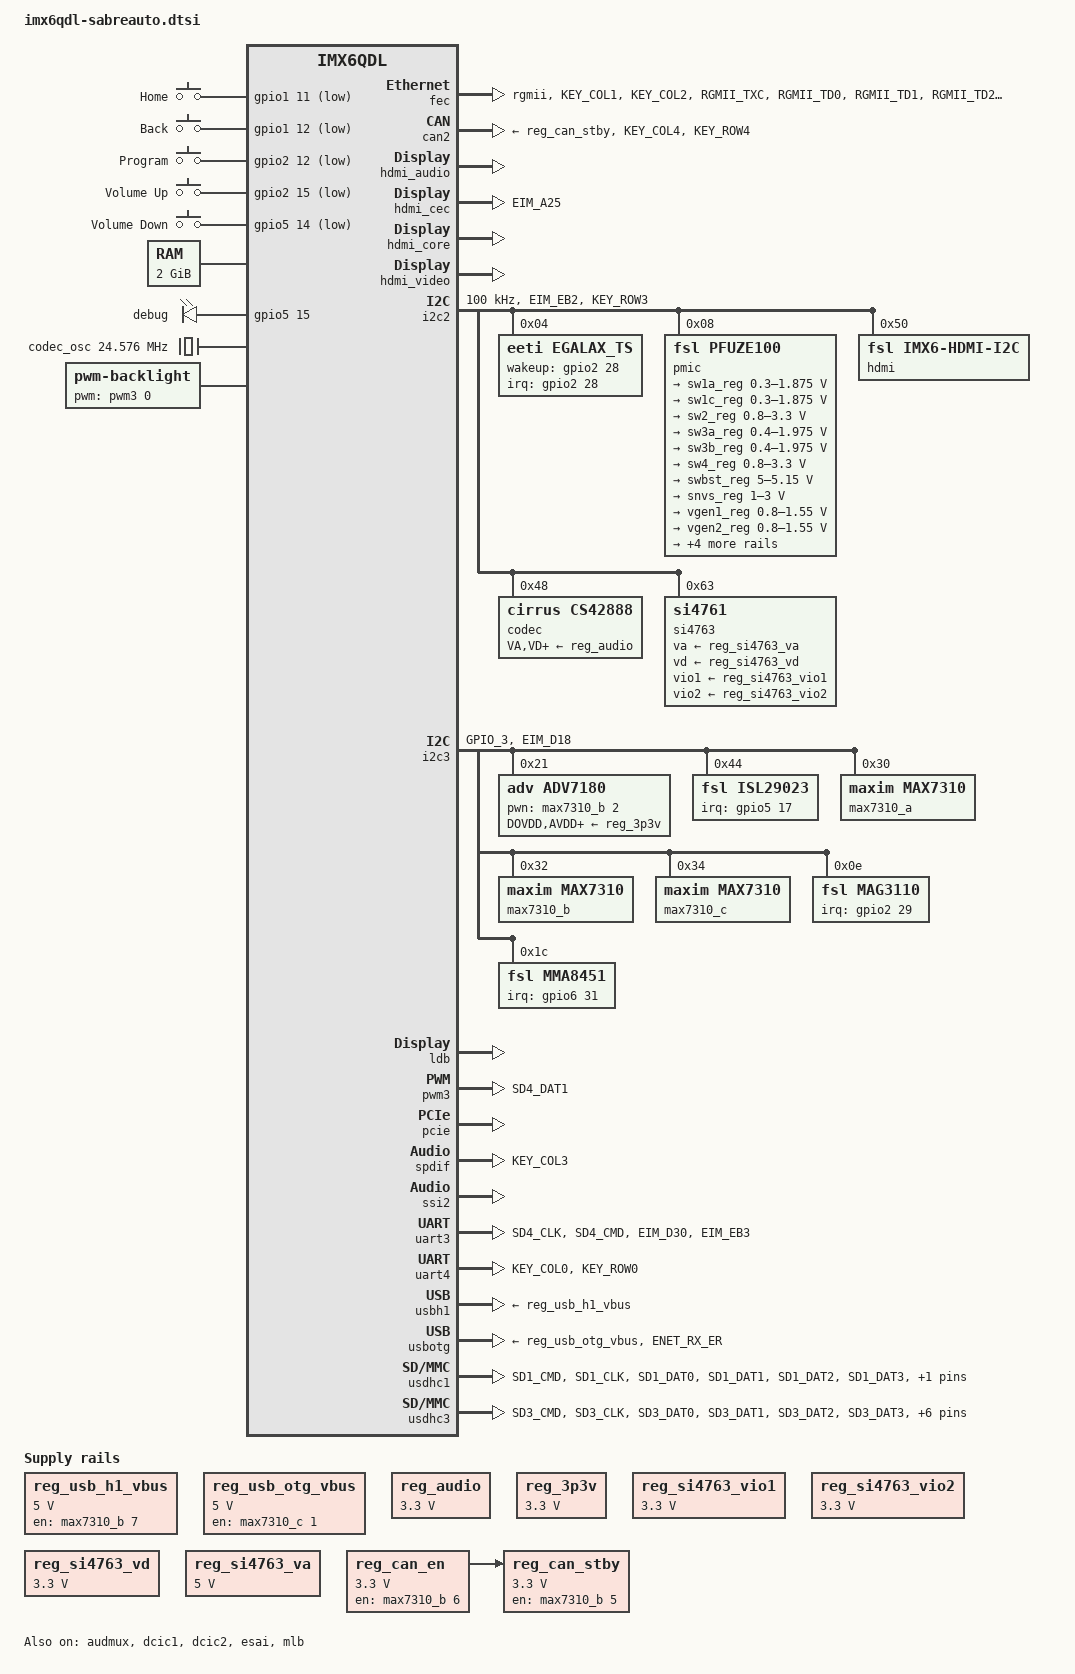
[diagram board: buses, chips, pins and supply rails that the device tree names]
/*
 * Copyright 2012-2015 Freescale Semiconductor, Inc.
 * Copyright 2011 Linaro Ltd.
 *
 * The code contained herein is licensed under the GNU General Public
 * License. You may obtain a copy of the GNU General Public License
 * Version 2 or later at the following locations:
 *
 * http://www.opensource.org/licenses/gpl-license.html
 * http://www.gnu.org/copyleft/gpl.html
 */

#include <dt-bindings/gpio/gpio.h>
#include <dt-bindings/input/input.h>

/ {
	aliases {
		mxcfb0 = &mxcfb1;
		mxcfb1 = &mxcfb2;
		mxcfb2 = &mxcfb3;
		mxcfb3 = &mxcfb4;
	};

	gpio-keys {
		compatible = "gpio-keys1";
		pinctrl-names = "default";
		pinctrl-0 = <&pinctrl_gpio_keys>;

		home {
			label = "Home";
			gpios = <&gpio1 11 GPIO_ACTIVE_LOW>;
			gpio-key,wakeup;
			linux,code = <KEY_HOME>;
		};

		back {
			label = "Back";
			gpios = <&gpio1 12 GPIO_ACTIVE_LOW>;
			gpio-key,wakeup;
			linux,code = <KEY_BACK>;
		};

		program {
			label = "Program";
			gpios = <&gpio2 12 GPIO_ACTIVE_LOW>;
			gpio-key,wakeup;
			linux,code = <KEY_PROGRAM>;
		};

		volume-up {
			label = "Volume Up";
			gpios = <&gpio2 15 GPIO_ACTIVE_LOW>;
			gpio-key,wakeup;
			linux,code = <KEY_VOLUMEUP>;
		};

		volume-down {
			label = "Volume Down";
			gpios = <&gpio5 14 GPIO_ACTIVE_LOW>;
			gpio-key,wakeup;
			linux,code = <KEY_VOLUMEDOWN>;
		};
	};

	memory:	memory {
		reg = <0x10000000 0x80000000>;
	};

	leds {
		compatible = "gpio-leds";
		pinctrl-names = "default";
		pinctrl-0 = <&pinctrl_gpio_leds>;

		user {
			label = "debug";
			gpios = <&gpio5 15 GPIO_ACTIVE_HIGH>;
		};
	};

	regulators {
		compatible = "simple-bus";
		#address-cells = <1>;
		#size-cells = <0>;

		reg_usb_h1_vbus: regulator@0 {
			compatible = "regulator-fixed";
			reg = <0>;
			regulator-name = "usb_h1_vbus";
			regulator-min-microvolt = <5000000>;
			regulator-max-microvolt = <5000000>;
			gpio = <&max7310_b 7 GPIO_ACTIVE_HIGH>;
			enable-active-high;
		};

		reg_usb_otg_vbus: regulator@1 {
			compatible = "regulator-fixed";
			reg = <1>;
			regulator-name = "usb_otg_vbus";
			regulator-min-microvolt = <5000000>;
			regulator-max-microvolt = <5000000>;
			gpio = <&max7310_c 1 GPIO_ACTIVE_HIGH>;
			enable-active-high;
		};

		reg_audio: regulator@2 {
			compatible = "regulator-fixed";
			reg = <2>;
			regulator-name = "cs42888_supply";
			regulator-min-microvolt = <3300000>;
			regulator-max-microvolt = <3300000>;
			regulator-always-on;
		};

		reg_3p3v: 3p3v {
			compatible = "regulator-fixed";
			regulator-name = "3P3V";
			regulator-min-microvolt = <3300000>;
			regulator-max-microvolt = <3300000>;
			regulator-always-on;
		};

		reg_si4763_vio1: regulator@3 {
			compatible = "regulator-fixed";
			reg = <3>;
			regulator-name = "vio1";
			regulator-min-microvolt = <3300000>;
			regulator-max-microvolt = <3300000>;
			regulator-always-on;
		};

		reg_si4763_vio2: regulator@4 {
			compatible = "regulator-fixed";
			reg = <4>;
			regulator-name = "vio2";
			regulator-min-microvolt = <3300000>;
			regulator-max-microvolt = <3300000>;
			regulator-always-on;
		};

		reg_si4763_vd: regulator@5 {
			compatible = "regulator-fixed";
			reg = <5>;
			regulator-name = "vd";
			regulator-min-microvolt = <3300000>;
			regulator-max-microvolt = <3300000>;
			regulator-always-on;
		};

		reg_si4763_va: regulator@6 {
			compatible = "regulator-fixed";
			reg = <6>;
			regulator-name = "va";
			regulator-min-microvolt = <5000000>;
			regulator-max-microvolt = <5000000>;
			regulator-always-on;
		};

		reg_sd3_vmmc: regulator@7 {
			compatible = "regulator-fixed";
			regulator-name = "P3V3_SDa_SWITCHED";
			regulator-min-microvolt = <3300000>;
			regulator-max-microvolt = <3300000>;
			gpio = <&gpio7 8 GPIO_ACTIVE_HIGH>;
			enable-active-high;
			/* remove below line to enable this regulator */
			status = "disabled";
		};

		reg_can_en: regulator@8 {
			compatible = "regulator-fixed";
			reg = <8>;
			regulator-name = "can-en";
			regulator-min-microvolt = <3300000>;
			regulator-max-microvolt = <3300000>;
			gpio = <&max7310_b 6 GPIO_ACTIVE_HIGH>;
			enable-active-high;
		};

		reg_can_stby: regulator@9 {
			compatible = "regulator-fixed";
			reg = <9>;
			regulator-name = "can-stby";
			regulator-min-microvolt = <3300000>;
			regulator-max-microvolt = <3300000>;
			gpio = <&max7310_b 5 GPIO_ACTIVE_HIGH>;
			enable-active-high;
			vin-supply = <&reg_can_en>;
		};
	};

	hannstar_cabc {
		compatible = "hannstar,cabc";

		lvds_share {
			gpios = <&max7310_a 0 GPIO_ACTIVE_HIGH>;
		};
	};

	sound-hdmi {
		compatible = "fsl,imx6q-audio-hdmi",
			     "fsl,imx-audio-hdmi";
		model = "imx-audio-hdmi";
		hdmi-controller = <&hdmi_audio>;
	};

	mxcfb1: fb@0 {
		compatible = "fsl,mxc_sdc_fb";
		disp_dev = "ldb";
		interface_pix_fmt = "RGB666";
		default_bpp = <16>;
		int_clk = <0>;
		late_init = <0>;
		status = "disabled";
	};

	mxcfb2: fb@1 {
		compatible = "fsl,mxc_sdc_fb";
		disp_dev = "hdmi";
		interface_pix_fmt = "RGB24";
		mode_str ="1920x1080M@60";
		default_bpp = <24>;
		int_clk = <0>;
		late_init = <0>;
		status = "disabled";
	};

	mxcfb3: fb@2 {
		compatible = "fsl,mxc_sdc_fb";
		disp_dev = "lcd";
		interface_pix_fmt = "RGB565";
		mode_str ="CLAA-WVGA";
		default_bpp = <16>;
		int_clk = <0>;
		late_init = <0>;
		status = "disabled";
	};

	mxcfb4: fb@3 {
		compatible = "fsl,mxc_sdc_fb";
		disp_dev = "ldb";
		interface_pix_fmt = "RGB666";
		default_bpp = <16>;
		int_clk = <0>;
		late_init = <0>;
		status = "disabled";
	};

	clocks {
		codec_osc: anaclk2 {
			compatible = "fixed-clock";
			#clock-cells = <0>;
			clock-frequency = <24576000>;
		};
	};

	sound-cs42888 {
		compatible = "fsl,imx6-sabreauto-cs42888",
				"fsl,imx-audio-cs42888";
		model = "imx-cs42888";
		esai-controller = <&esai>;
		asrc-controller = <&asrc>;
		audio-codec = <&codec>;
	};

	sound-fm {
		compatible = "fsl,imx-audio-si476x",
			   "fsl,imx-tuner-si476x";
		model = "imx-radio-si4763";
		ssi-controller = <&ssi2>;
		fm-controller = <&si476x_codec>;
		mux-int-port = <2>;
		mux-ext-port = <5>;
	};

	sound-spdif {
		compatible = "fsl,imx-audio-spdif",
			   "fsl,imx-sabreauto-spdif";
		model = "imx-spdif";
		spdif-controller = <&spdif>;
		spdif-in;
	};

	backlight {
		compatible = "pwm-backlight";
		pwms = <&pwm3 0 5000000>;
		brightness-levels = <0 4 8 16 32 64 128 255>;
		default-brightness-level = <7>;
		status = "okay";
	};

	v4l2_cap_0 {
		compatible = "fsl,imx6q-v4l2-capture";
		ipu_id = <0>;
		csi_id = <0>;
		mclk_source = <0>;
		status = "okay";
	};

	v4l2_out {
		compatible = "fsl,mxc_v4l2_output";
		status = "okay";
	};
};

&audmux {
	pinctrl-names = "default";
	pinctrl-0 = <&pinctrl_audmux>;
	status = "okay";
};

&clks {
	assigned-clocks = <&clks IMX6QDL_PLL4_BYPASS_SRC>,
			  <&clks IMX6QDL_PLL4_BYPASS>,
			  <&clks IMX6QDL_CLK_PLL4_POST_DIV>;
	assigned-clock-parents = <&clks IMX6QDL_CLK_LVDS2_IN>,
				<&clks IMX6QDL_PLL4_BYPASS_SRC>;
	assigned-clock-rates = <0>, <0>, <24576000>;
	fsl,ldb-di0-parent = <&clks IMX6QDL_CLK_PLL2_PFD0_352M>;
	fsl,ldb-di1-parent = <&clks IMX6QDL_CLK_PLL2_PFD0_352M>;
};

&dcic1 {
	dcic_id = <0>;
	dcic_mux = "dcic-hdmi";
	status = "okay";
};

&dcic2 {
	dcic_id = <1>;
	dcic_mux = "dcic-lvds0";
	status = "okay";
};

&ecspi1 {
	fsl,spi-num-chipselects = <1>;
	cs-gpios = <&gpio3 19 0>;
	pinctrl-names = "default";
	pinctrl-0 = <&pinctrl_ecspi1 &pinctrl_ecspi1_cs>;
	status = "disabled"; /* pin conflict with WEIM NOR */

	flash: m25p80@0 {
		#address-cells = <1>;
		#size-cells = <1>;
		compatible = "st,m25p32";
		spi-max-frequency = <20000000>;
		reg = <0>;
	};
};

&esai {
	pinctrl-names = "default";
	pinctrl-0 = <&pinctrl_esai>;
	assigned-clocks = <&clks IMX6QDL_CLK_ESAI_SEL>,
			  <&clks IMX6QDL_CLK_ESAI_EXTAL>;
	assigned-clock-parents = <&clks IMX6QDL_CLK_PLL4_AUDIO_DIV>;
	assigned-clock-rates = <0>, <24576000>;
	status = "okay";
};

&fec {
	pinctrl-names = "default";
	pinctrl-0 = <&pinctrl_enet>;
	phy-mode = "rgmii";
	fsl,magic-packet;
	status = "okay";
};

&can1 {
	pinctrl-names = "default";
	pinctrl-0 = <&pinctrl_flexcan1>;
	pinctrl-assert-gpios = <&max7310_b 3 GPIO_ACTIVE_HIGH>; /* TX */
	xceiver-supply = <&reg_can_stby>;
	status = "disabled"; /* pin conflict with fec */
};

&can2 {
	pinctrl-names = "default";
	pinctrl-0 = <&pinctrl_flexcan2>;
	xceiver-supply = <&reg_can_stby>;
	status = "okay";
};

&gpmi {
	pinctrl-names = "default";
	pinctrl-0 = <&pinctrl_gpmi_nand>;
	status = "disabled"; /* pin conflict with uart3 */
	nand-on-flash-bbt;
};

&hdmi_audio {
	status = "okay";
};

&hdmi_cec {
	pinctrl-names = "default";
	pinctrl-0 = <&pinctrl_hdmi_cec>;
	status = "okay";
};

&hdmi_core {
	ipu_id = <0>;
	disp_id = <1>;
	status = "okay";
};

&hdmi_video {
	fsl,phy_reg_vlev = <0x0294>;
	fsl,phy_reg_cksymtx = <0x800d>;
	status = "okay";
};

&i2c2 {
	clock-frequency = <100000>;
	pinctrl-names = "default";
	pinctrl-0 = <&pinctrl_i2c2>;
	status = "okay";

	egalax_ts@04 {
		compatible = "eeti,egalax_ts";
		reg = <0x04>;
		pinctrl-names = "default";
		pinctrl-0 = <&pinctrl_egalax_int>;
		interrupt-parent = <&gpio2>;
		interrupts = <28 2>;
		wakeup-gpios = <&gpio2 28 GPIO_ACTIVE_HIGH>;
	};

	pmic: pfuze100@08 {
		compatible = "fsl,pfuze100";
		reg = <0x08>;

		regulators {
			sw1a_reg: sw1ab {
				regulator-min-microvolt = <300000>;
				regulator-max-microvolt = <1875000>;
				regulator-boot-on;
				regulator-always-on;
				regulator-ramp-delay = <6250>;
			};

			sw1c_reg: sw1c {
				regulator-min-microvolt = <300000>;
				regulator-max-microvolt = <1875000>;
				regulator-boot-on;
				regulator-always-on;
				regulator-ramp-delay = <6250>;
			};

			sw2_reg: sw2 {
				regulator-min-microvolt = <800000>;
				regulator-max-microvolt = <3300000>;
				regulator-boot-on;
				regulator-always-on;
			};

			sw3a_reg: sw3a {
				regulator-min-microvolt = <400000>;
				regulator-max-microvolt = <1975000>;
				regulator-boot-on;
				regulator-always-on;
			};

			sw3b_reg: sw3b {
				regulator-min-microvolt = <400000>;
				regulator-max-microvolt = <1975000>;
				regulator-boot-on;
				regulator-always-on;
			};

			sw4_reg: sw4 {
				regulator-min-microvolt = <800000>;
				regulator-max-microvolt = <3300000>;
			};

			swbst_reg: swbst {
				regulator-min-microvolt = <5000000>;
				regulator-max-microvolt = <5150000>;
			};

			snvs_reg: vsnvs {
				regulator-min-microvolt = <1000000>;
				regulator-max-microvolt = <3000000>;
				regulator-boot-on;
				regulator-always-on;
			};

			vref_reg: vrefddr {
				regulator-boot-on;
				regulator-always-on;
			};

			vgen1_reg: vgen1 {
				regulator-min-microvolt = <800000>;
				regulator-max-microvolt = <1550000>;
			};

			vgen2_reg: vgen2 {
				regulator-min-microvolt = <800000>;
				regulator-max-microvolt = <1550000>;
			};

			vgen3_reg: vgen3 {
				regulator-min-microvolt = <1800000>;
				regulator-max-microvolt = <3300000>;
			};

			vgen4_reg: vgen4 {
				regulator-min-microvolt = <1800000>;
				regulator-max-microvolt = <3300000>;
				regulator-always-on;
			};

			vgen5_reg: vgen5 {
				regulator-min-microvolt = <1800000>;
				regulator-max-microvolt = <3300000>;
				regulator-always-on;
			};

			vgen6_reg: vgen6 {
				regulator-min-microvolt = <1800000>;
				regulator-max-microvolt = <3300000>;
				regulator-always-on;
			};
		};
	};

	hdmi: edid@50 {
		compatible = "fsl,imx6-hdmi-i2c";
		reg = <0x50>;
	};

	codec: cs42888@48 {
		compatible = "cirrus,cs42888";
		reg = <0x48>;
		clocks = <&codec_osc>;
		clock-names = "mclk";
		VA-supply = <&reg_audio>;
		VD-supply = <&reg_audio>;
		VLS-supply = <&reg_audio>;
		VLC-supply = <&reg_audio>;
        };

	si4763: si4763@63 {
		compatible = "si4761";
		reg = <0x63>;
		va-supply = <&reg_si4763_va>;
		vd-supply = <&reg_si4763_vd>;
		vio1-supply = <&reg_si4763_vio1>;
		vio2-supply = <&reg_si4763_vio2>;
		revision-a10; /* set to default A10 compatible command set */

		si476x_codec: si476x-codec {
			compatible = "si476x-codec";
		};
	};
};

&i2c3 {
	pinctrl-names = "default";
	pinctrl-0 = <&pinctrl_i2c3>;
	status = "okay";

	adv7180: adv7180@21 {
		compatible = "adv,adv7180";
		reg = <0x21>;
		pinctrl-names = "default";
		pinctrl-0 = <&pinctrl_ipu1_1>;
		clocks = <&clks IMX6QDL_CLK_CKO>;
		clock-names = "csi_mclk";
		DOVDD-supply = <&reg_3p3v>; /* 3.3v, enabled via 2.8 VGEN6 */
		AVDD-supply = <&reg_3p3v>;  /* 1.8v */
		DVDD-supply = <&reg_3p3v>;  /* 1.8v */
		PVDD-supply = <&reg_3p3v>;  /* 1.8v */
		pwn-gpios = <&max7310_b 2 0>;
		csi_id = <0>;
		mclk = <24000000>;
		mclk_source = <0>;
		cvbs = <1>;
	};

	isl29023@44 {
		compatible = "fsl,isl29023";
		reg = <0x44>;
		rext = <499>;
		interrupt-parent = <&gpio5>;
		interrupts = <17 2>;
	};

	max7310_a: gpio@30 {
		compatible = "maxim,max7310";
		reg = <0x30>;
		gpio-controller;
		#gpio-cells = <2>;
	};

	max7310_b: gpio@32 {
		compatible = "maxim,max7310";
		reg = <0x32>;
		gpio-controller;
		#gpio-cells = <2>;
	};

	max7310_c: gpio@34 {
		compatible = "maxim,max7310";
		reg = <0x34>;
		gpio-controller;
		#gpio-cells = <2>;
	};

	mag3110@0e {
		compatible = "fsl,mag3110";
		reg = <0x0e>;
		position = <2>;
		interrupt-parent = <&gpio2>;
		interrupts = <29 1>;
	};

	mma8451@1c {
		compatible = "fsl,mma8451";
		reg = <0x1c>;
		position = <7>;
		interrupt-parent = <&gpio6>;
		interrupts = <31 8>;
		interrupt-route = <1>;
	};
};

&iomuxc {
	pinctrl-names = "default";
	pinctrl-0 = <&pinctrl_hog>;

	imx6qdl-sabreauto {
                pinctrl_audmux: audmux {
                        fsl,pins = <
                                MX6QDL_PAD_DISP0_DAT16__AUD5_TXC  0x130b0
                                MX6QDL_PAD_DISP0_DAT18__AUD5_TXFS 0x130b0
                                MX6QDL_PAD_DISP0_DAT19__AUD5_RXD  0x130b0
                        >;
                };

		pinctrl_hog: hoggrp {
			fsl,pins = <
				MX6QDL_PAD_NANDF_CS2__GPIO6_IO15 0x1f059
				MX6QDL_PAD_SD2_DAT2__GPIO1_IO13  0x80000000
				MX6QDL_PAD_GPIO_18__SD3_VSELECT 0x17059
				MX6QDL_PAD_EIM_A24__GPIO5_IO04   0x80000000
				MX6QDL_PAD_SD2_DAT0__GPIO1_IO15  0x80000000
				MX6QDL_PAD_EIM_BCLK__GPIO6_IO31 0x80000000
				MX6QDL_PAD_EIM_EB1__GPIO2_IO29	0x80000000
				MX6QDL_PAD_DISP0_DAT23__GPIO5_IO17 0x80000000
				MX6QDL_PAD_SD3_RST__GPIO7_IO08 0x80000000
				MX6QDL_PAD_CSI0_DATA_EN__GPIO5_IO20 0x17059
				MX6QDL_PAD_GPIO_1__GPIO1_IO01 0x17059
			>;
		};

		pinctrl_ecspi1: ecspi1grp {
			fsl,pins = <
				MX6QDL_PAD_EIM_D17__ECSPI1_MISO		0x100b1
				MX6QDL_PAD_EIM_D18__ECSPI1_MOSI		0x100b1
				MX6QDL_PAD_EIM_D16__ECSPI1_SCLK		0x100b1
			>;
		};

		pinctrl_ecspi1_cs: ecspi1cs {
			fsl,pins = <
				MX6QDL_PAD_EIM_D19__GPIO3_IO19 0x80000000
			>;
		};

		pinctrl_egalax_int: egalax_intgrp {
			fsl,pins = <
				MX6QDL_PAD_EIM_EB0__GPIO2_IO28 0x80000000
			>;
		};

		pinctrl_enet: enetgrp {
			fsl,pins = <
				MX6QDL_PAD_KEY_COL1__ENET_MDIO		0x1b0b0
				MX6QDL_PAD_KEY_COL2__ENET_MDC		0x1b0b0
				MX6QDL_PAD_RGMII_TXC__RGMII_TXC		0x1b0b0
				MX6QDL_PAD_RGMII_TD0__RGMII_TD0		0x1b0b0
				MX6QDL_PAD_RGMII_TD1__RGMII_TD1		0x1b0b0
				MX6QDL_PAD_RGMII_TD2__RGMII_TD2		0x1b0b0
				MX6QDL_PAD_RGMII_TD3__RGMII_TD3		0x1b0b0
				MX6QDL_PAD_RGMII_TX_CTL__RGMII_TX_CTL	0x1b0b0
				MX6QDL_PAD_ENET_REF_CLK__ENET_TX_CLK	0x1b0b0
				MX6QDL_PAD_RGMII_RXC__RGMII_RXC		0x1b0b0
				MX6QDL_PAD_RGMII_RD0__RGMII_RD0		0x1b0b0
				MX6QDL_PAD_RGMII_RD1__RGMII_RD1		0x1b0b0
				MX6QDL_PAD_RGMII_RD2__RGMII_RD2		0x1b0b0
				MX6QDL_PAD_RGMII_RD3__RGMII_RD3		0x1b0b0
				MX6QDL_PAD_RGMII_RX_CTL__RGMII_RX_CTL	0x1b0b0
				MX6QDL_PAD_GPIO_16__ENET_REF_CLK	0x4001b0a8
			>;
		};

		pinctrl_enet_irq: enetirqgrp {
			fsl,pins = <
				MX6QDL_PAD_GPIO_6__ENET_IRQ		0x000b1
			>;
		};

		pinctrl_esai: esaigrp {
			fsl,pins = <
				MX6QDL_PAD_ENET_CRS_DV__ESAI_TX_CLK 0x1b030
				MX6QDL_PAD_ENET_RXD1__ESAI_TX_FS    0x1b030
				MX6QDL_PAD_ENET_TX_EN__ESAI_TX3_RX2 0x1b030
				MX6QDL_PAD_GPIO_5__ESAI_TX2_RX3     0x1b030
				MX6QDL_PAD_ENET_TXD0__ESAI_TX4_RX1  0x1b030
				MX6QDL_PAD_ENET_MDC__ESAI_TX5_RX0   0x1b030
				MX6QDL_PAD_GPIO_17__ESAI_TX0        0x1b030
				MX6QDL_PAD_NANDF_CS3__ESAI_TX1      0x1b030
				MX6QDL_PAD_ENET_MDIO__ESAI_RX_CLK   0x1b030
				MX6QDL_PAD_GPIO_9__ESAI_RX_FS       0x1b030
			>;
		};

		pinctrl_flexcan1: flexcan1grp {
			fsl,pins = <
				MX6QDL_PAD_KEY_ROW2__FLEXCAN1_RX        0x17059
				MX6QDL_PAD_KEY_COL2__FLEXCAN1_TX	0x17059
			>;
		};

		pinctrl_flexcan2: flexcan2grp {
			fsl,pins = <
				MX6QDL_PAD_KEY_COL4__FLEXCAN2_TX	0x17059
				MX6QDL_PAD_KEY_ROW4__FLEXCAN2_RX	0x17059
			>;
		};

		pinctrl_gpio_keys: gpio_keysgrp {
			fsl,pins = <
				MX6QDL_PAD_SD2_CMD__GPIO1_IO11	0x1b0b0
				MX6QDL_PAD_SD2_DAT3__GPIO1_IO12 0x1b0b0
				MX6QDL_PAD_SD4_DAT4__GPIO2_IO12 0x1b0b0
				MX6QDL_PAD_SD4_DAT7__GPIO2_IO15	0x1b0b0
				MX6QDL_PAD_DISP0_DAT20__GPIO5_IO14 0x1b0b0
			>;
		};

		pinctrl_gpio_leds: gpioledsgrp {
			fsl,pins = <
				MX6QDL_PAD_DISP0_DAT21__GPIO5_IO15	0x80000000
			>;
		};

		pinctrl_gpmi_nand: gpminandgrp {
			fsl,pins = <
				MX6QDL_PAD_NANDF_CLE__NAND_CLE		0xb0b1
				MX6QDL_PAD_NANDF_ALE__NAND_ALE		0xb0b1
				MX6QDL_PAD_NANDF_WP_B__NAND_WP_B	0xb0b1
				MX6QDL_PAD_NANDF_RB0__NAND_READY_B	0xb000
				MX6QDL_PAD_NANDF_CS0__NAND_CE0_B	0xb0b1
				MX6QDL_PAD_NANDF_CS1__NAND_CE1_B	0xb0b1
				MX6QDL_PAD_SD4_CMD__NAND_RE_B		0xb0b1
				MX6QDL_PAD_SD4_CLK__NAND_WE_B		0xb0b1
				MX6QDL_PAD_NANDF_D0__NAND_DATA00	0xb0b1
				MX6QDL_PAD_NANDF_D1__NAND_DATA01	0xb0b1
				MX6QDL_PAD_NANDF_D2__NAND_DATA02	0xb0b1
				MX6QDL_PAD_NANDF_D3__NAND_DATA03	0xb0b1
				MX6QDL_PAD_NANDF_D4__NAND_DATA04	0xb0b1
				MX6QDL_PAD_NANDF_D5__NAND_DATA05	0xb0b1
				MX6QDL_PAD_NANDF_D6__NAND_DATA06	0xb0b1
				MX6QDL_PAD_NANDF_D7__NAND_DATA07	0xb0b1
				MX6QDL_PAD_SD4_DAT0__NAND_DQS		0x00b1
			>;
		};

		pinctrl_i2c2: i2c2grp {
			fsl,pins = <
				MX6QDL_PAD_EIM_EB2__I2C2_SCL	0x4001b8b1
				MX6QDL_PAD_KEY_ROW3__I2C2_SDA	0x4001b8b1
			>;
		};

		pinctrl_ipu1_1: ipu1grp-1 { /* parallel port 16-bit */
			fsl,pins = <
				MX6QDL_PAD_CSI0_DAT4__IPU1_CSI0_DATA04   0x80000000
				MX6QDL_PAD_CSI0_DAT5__IPU1_CSI0_DATA05   0x80000000
				MX6QDL_PAD_CSI0_DAT6__IPU1_CSI0_DATA06   0x80000000
				MX6QDL_PAD_CSI0_DAT7__IPU1_CSI0_DATA07   0x80000000
				MX6QDL_PAD_CSI0_DAT8__IPU1_CSI0_DATA08   0x80000000
				MX6QDL_PAD_CSI0_DAT9__IPU1_CSI0_DATA09   0x80000000
				MX6QDL_PAD_CSI0_DAT10__IPU1_CSI0_DATA10  0x80000000
				MX6QDL_PAD_CSI0_DAT11__IPU1_CSI0_DATA11  0x80000000
				MX6QDL_PAD_CSI0_DAT12__IPU1_CSI0_DATA12  0x80000000
				MX6QDL_PAD_CSI0_DAT13__IPU1_CSI0_DATA13  0x80000000
				MX6QDL_PAD_CSI0_DAT14__IPU1_CSI0_DATA14  0x80000000
				MX6QDL_PAD_CSI0_DAT15__IPU1_CSI0_DATA15  0x80000000
				MX6QDL_PAD_CSI0_DAT16__IPU1_CSI0_DATA16  0x80000000
				MX6QDL_PAD_CSI0_DAT17__IPU1_CSI0_DATA17  0x80000000
				MX6QDL_PAD_CSI0_DAT18__IPU1_CSI0_DATA18  0x80000000
				MX6QDL_PAD_CSI0_DAT19__IPU1_CSI0_DATA19  0x80000000
				MX6QDL_PAD_CSI0_PIXCLK__IPU1_CSI0_PIXCLK 0x80000000
				MX6QDL_PAD_CSI0_MCLK__IPU1_CSI0_HSYNC    0x80000000
				MX6QDL_PAD_CSI0_VSYNC__IPU1_CSI0_VSYNC   0x80000000
			>;
		};

		pinctrl_i2c3: i2c3grp {
			fsl,pins = <
				MX6QDL_PAD_GPIO_3__I2C3_SCL  0x4001b8b1
				MX6QDL_PAD_EIM_D18__I2C3_SDA 0x4001b8b1
			>;
		};

		pinctrl_mlb: mlb {
			fsl,pins = <
				MX6QDL_PAD_ENET_TXD1__MLB_CLK 0x80000000
				MX6QDL_PAD_GPIO_6__MLB_SIG    0x80000000
				MX6QDL_PAD_GPIO_2__MLB_DATA   0x80000000
			>;
		};

		pinctrl_pwm3: pwm1grp {
			fsl,pins = <
				MX6QDL_PAD_SD4_DAT1__PWM3_OUT		0x1b0b1
			>;
		};

		pinctrl_spdif: spdifgrp {
			fsl,pins = <
				MX6QDL_PAD_KEY_COL3__SPDIF_IN 0x1b0b0
			>;
		};

		pinctrl_uart3_1: uart3grp-1 {
			fsl,pins = <
				MX6QDL_PAD_SD4_CLK__UART3_RX_DATA	0x1b0b1
				MX6QDL_PAD_SD4_CMD__UART3_TX_DATA	0x1b0b1
				MX6QDL_PAD_EIM_D30__UART3_CTS_B		0x1b0b1
				MX6QDL_PAD_EIM_EB3__UART3_RTS_B		0x1b0b1
			>;
		};

		pinctrl_uart3dte_1: uart3dtegrp-1 {
			fsl,pins = <
				MX6QDL_PAD_SD4_CLK__UART3_TX_DATA	0x1b0b1
				MX6QDL_PAD_SD4_CMD__UART3_RX_DATA	0x1b0b1
				MX6QDL_PAD_EIM_D30__UART3_RTS_B		0x1b0b1
				MX6QDL_PAD_EIM_EB3__UART3_CTS_B		0x1b0b1
			>;
		};

		pinctrl_uart4: uart4grp {
			fsl,pins = <
				MX6QDL_PAD_KEY_COL0__UART4_TX_DATA	0x1b0b1
				MX6QDL_PAD_KEY_ROW0__UART4_RX_DATA	0x1b0b1
			>;
		};

		pinctrl_usbotg: usbotggrp {
			fsl,pins = <
				MX6QDL_PAD_ENET_RX_ER__USB_OTG_ID 0x17059
			>;
		};

		pinctrl_usdhc1: usdhc1grp {
			fsl,pins = <
				MX6QDL_PAD_SD1_CMD__SD1_CMD             0x17071
				MX6QDL_PAD_SD1_CLK__SD1_CLK             0x10071
				MX6QDL_PAD_SD1_DAT0__SD1_DATA0          0x17071
				MX6QDL_PAD_SD1_DAT1__SD1_DATA1          0x17071
				MX6QDL_PAD_SD1_DAT2__SD1_DATA2          0x17071
				MX6QDL_PAD_SD1_DAT3__SD1_DATA3          0x17071
			>;
		};

		pinctrl_usdhc3: usdhc3grp {
			fsl,pins = <
				MX6QDL_PAD_SD3_CMD__SD3_CMD		0x17059
				MX6QDL_PAD_SD3_CLK__SD3_CLK		0x10059
				MX6QDL_PAD_SD3_DAT0__SD3_DATA0		0x17059
				MX6QDL_PAD_SD3_DAT1__SD3_DATA1		0x17059
				MX6QDL_PAD_SD3_DAT2__SD3_DATA2		0x17059
				MX6QDL_PAD_SD3_DAT3__SD3_DATA3		0x17059
				MX6QDL_PAD_SD3_DAT4__SD3_DATA4		0x17059
				MX6QDL_PAD_SD3_DAT5__SD3_DATA5		0x17059
				MX6QDL_PAD_SD3_DAT6__SD3_DATA6		0x17059
				MX6QDL_PAD_SD3_DAT7__SD3_DATA7		0x17059
			>;
		};

		pinctrl_usdhc3_100mhz: usdhc3grp100mhz {
			fsl,pins = <
				MX6QDL_PAD_SD3_CMD__SD3_CMD		0x170b9
				MX6QDL_PAD_SD3_CLK__SD3_CLK		0x100b9
				MX6QDL_PAD_SD3_DAT0__SD3_DATA0		0x170b9
				MX6QDL_PAD_SD3_DAT1__SD3_DATA1		0x170b9
				MX6QDL_PAD_SD3_DAT2__SD3_DATA2		0x170b9
				MX6QDL_PAD_SD3_DAT3__SD3_DATA3		0x170b9
				MX6QDL_PAD_SD3_DAT4__SD3_DATA4		0x170b9
				MX6QDL_PAD_SD3_DAT5__SD3_DATA5		0x170b9
				MX6QDL_PAD_SD3_DAT6__SD3_DATA6		0x170b9
				MX6QDL_PAD_SD3_DAT7__SD3_DATA7		0x170b9
			>;
		};

		pinctrl_usdhc3_200mhz: usdhc3grp200mhz {
			fsl,pins = <
				MX6QDL_PAD_SD3_CMD__SD3_CMD		0x170f9
				MX6QDL_PAD_SD3_CLK__SD3_CLK		0x100f9
				MX6QDL_PAD_SD3_DAT0__SD3_DATA0		0x170f9
				MX6QDL_PAD_SD3_DAT1__SD3_DATA1		0x170f9
				MX6QDL_PAD_SD3_DAT2__SD3_DATA2		0x170f9
				MX6QDL_PAD_SD3_DAT3__SD3_DATA3		0x170f9
				MX6QDL_PAD_SD3_DAT4__SD3_DATA4		0x170f9
				MX6QDL_PAD_SD3_DAT5__SD3_DATA5		0x170f9
				MX6QDL_PAD_SD3_DAT6__SD3_DATA6		0x170f9
				MX6QDL_PAD_SD3_DAT7__SD3_DATA7		0x170f9
			>;
		};

		pinctrl_weim_cs0: weimcs0grp {
			fsl,pins = <
				MX6QDL_PAD_EIM_CS0__EIM_CS0_B		0xb0b1
			>;
		};

		pinctrl_weim_nor: weimnorgrp {
			fsl,pins = <
				MX6QDL_PAD_EIM_OE__EIM_OE_B		0xb0b1
				MX6QDL_PAD_EIM_RW__EIM_RW		0xb0b1
				MX6QDL_PAD_EIM_WAIT__EIM_WAIT_B		0xb060
				MX6QDL_PAD_EIM_D16__EIM_DATA16		0x1b0b0
				MX6QDL_PAD_EIM_D17__EIM_DATA17		0x1b0b0
				MX6QDL_PAD_EIM_D18__EIM_DATA18		0x1b0b0
				MX6QDL_PAD_EIM_D19__EIM_DATA19		0x1b0b0
				MX6QDL_PAD_EIM_D20__EIM_DATA20		0x1b0b0
				MX6QDL_PAD_EIM_D21__EIM_DATA21		0x1b0b0
				MX6QDL_PAD_EIM_D22__EIM_DATA22		0x1b0b0
				MX6QDL_PAD_EIM_D23__EIM_DATA23		0x1b0b0
				MX6QDL_PAD_EIM_D24__EIM_DATA24		0x1b0b0
				MX6QDL_PAD_EIM_D25__EIM_DATA25		0x1b0b0
				MX6QDL_PAD_EIM_D26__EIM_DATA26		0x1b0b0
				MX6QDL_PAD_EIM_D27__EIM_DATA27		0x1b0b0
				MX6QDL_PAD_EIM_D28__EIM_DATA28		0x1b0b0
				MX6QDL_PAD_EIM_D29__EIM_DATA29		0x1b0b0
				MX6QDL_PAD_EIM_D30__EIM_DATA30		0x1b0b0
				MX6QDL_PAD_EIM_D31__EIM_DATA31		0x1b0b0
				MX6QDL_PAD_EIM_A23__EIM_ADDR23		0xb0b1
				MX6QDL_PAD_EIM_A22__EIM_ADDR22		0xb0b1
				MX6QDL_PAD_EIM_A21__EIM_ADDR21		0xb0b1
				MX6QDL_PAD_EIM_A20__EIM_ADDR20		0xb0b1
				MX6QDL_PAD_EIM_A19__EIM_ADDR19		0xb0b1
				MX6QDL_PAD_EIM_A18__EIM_ADDR18		0xb0b1
				MX6QDL_PAD_EIM_A17__EIM_ADDR17		0xb0b1
				MX6QDL_PAD_EIM_A16__EIM_ADDR16		0xb0b1
				MX6QDL_PAD_EIM_DA15__EIM_AD15		0xb0b1
				MX6QDL_PAD_EIM_DA14__EIM_AD14		0xb0b1
				MX6QDL_PAD_EIM_DA13__EIM_AD13		0xb0b1
				MX6QDL_PAD_EIM_DA12__EIM_AD12		0xb0b1
				MX6QDL_PAD_EIM_DA11__EIM_AD11		0xb0b1
				MX6QDL_PAD_EIM_DA10__EIM_AD10		0xb0b1
				MX6QDL_PAD_EIM_DA9__EIM_AD09		0xb0b1
				MX6QDL_PAD_EIM_DA8__EIM_AD08		0xb0b1
				MX6QDL_PAD_EIM_DA7__EIM_AD07		0xb0b1
				MX6QDL_PAD_EIM_DA6__EIM_AD06		0xb0b1
				MX6QDL_PAD_EIM_DA5__EIM_AD05		0xb0b1
				MX6QDL_PAD_EIM_DA4__EIM_AD04		0xb0b1
				MX6QDL_PAD_EIM_DA3__EIM_AD03		0xb0b1
				MX6QDL_PAD_EIM_DA2__EIM_AD02		0xb0b1
				MX6QDL_PAD_EIM_DA1__EIM_AD01		0xb0b1
				MX6QDL_PAD_EIM_DA0__EIM_AD00		0xb0b1
			>;
		};

		pinctrl_hdmi_cec: hdmicecgrp {
			fsl,pins = <
				MX6QDL_PAD_EIM_A25__HDMI_TX_CEC_LINE 0x1f8b0
			>;
		};
	};
};

&ldb {
	status = "okay";

	lvds-channel@0 {
		fsl,data-mapping = "spwg";
		fsl,data-width = <18>;
		primary;
		status = "okay";

		display-timings {
			native-mode = <&timing0>;
			timing0: hsd100pxn1 {
				clock-frequency = <65000000>;
				hactive = <1024>;
				vactive = <768>;
				hback-porch = <220>;
				hfront-porch = <40>;
				vback-porch = <21>;
				vfront-porch = <7>;
				hsync-len = <60>;
				vsync-len = <10>;
			};
		};
	};

	lvds-channel@1 {
		fsl,data-mapping = "spwg";
		fsl,data-width = <18>;
		status = "okay";

		display-timings {
			native-mode = <&timing1>;
			timing1: hsd100pxn1 {
				clock-frequency = <65000000>;
				hactive = <1024>;
				vactive = <768>;
				hback-porch = <220>;
				hfront-porch = <40>;
				vback-porch = <21>;
				vfront-porch = <7>;
				hsync-len = <60>;
				vsync-len = <10>;
			};
		};
	};
};

&mlb {
	pinctrl-names = "default";
	pinctrl-0 = <&pinctrl_mlb>;
	status = "okay";
};

&pwm3 {
	pinctrl-names = "default";
	pinctrl-0 = <&pinctrl_pwm3>;
	status = "okay";
};

&pcie {
	status = "okay";
};

&spdif {
	pinctrl-names = "default";
	pinctrl-0 = <&pinctrl_spdif>;
	assigned-clocks = <&clks IMX6QDL_CLK_SPDIF_SEL>,
			  <&clks IMX6QDL_CLK_SPDIF_PODF>;
	assigned-clock-parents = <&clks IMX6QDL_CLK_PLL3_PFD3_454M>;
	assigned-clock-rates = <0>, <227368421>;
	status = "okay";
};

&snvs_poweroff {
	status = "okay";
};

&ssi2 {
	assigned-clocks = <&clks IMX6QDL_CLK_SSI2_SEL>;
	assigned-clock-parents = <&clks IMX6QDL_CLK_PLL4_AUDIO_DIV>;
	assigned-clock-rates = <0>;
	fsl,mode = "i2s-master";
	status = "okay";
};

&uart3 {
	pinctrl-names = "default";
	pinctrl-0 = <&pinctrl_uart3_1>;
	pinctrl-assert-gpios = <&max7310_b 4 GPIO_ACTIVE_HIGH>, /* CTS */
			       <&max7310_c 3 GPIO_ACTIVE_HIGH>; /* RXD and TXD */
	fsl,uart-has-rtscts;
	status = "okay";
	/* for DTE mode, add below change */
	/* fsl,dte-mode; */
	/* pinctrl-0 = <&pinctrl_uart3dte_1>; */
};

&uart4 {
	pinctrl-names = "default";
	pinctrl-0 = <&pinctrl_uart4>;
	status = "okay";
};

&usbh1 {
	vbus-supply = <&reg_usb_h1_vbus>;
	status = "okay";
};

&usbotg {
	vbus-supply = <&reg_usb_otg_vbus>;
	pinctrl-names = "default";
	pinctrl-0 = <&pinctrl_usbotg>;
	srp-disable;
	hnp-disable;
	adp-disable;
	status = "okay";
};

&usdhc1 {
	pinctrl-names = "default";
	pinctrl-0 = <&pinctrl_usdhc1>;
	cd-gpios = <&gpio1 1 GPIO_ACTIVE_LOW>;
	no-1-8-v;
	keep-power-in-suspend;
	enable-sdio-wakeup;
	status = "okay";
};

&usdhc3 {
	pinctrl-names = "default", "state_100mhz", "state_200mhz";
	pinctrl-0 = <&pinctrl_usdhc3>;
	pinctrl-1 = <&pinctrl_usdhc3_100mhz>;
	pinctrl-2 = <&pinctrl_usdhc3_200mhz>;
	cd-gpios = <&gpio6 15 GPIO_ACTIVE_LOW>;
	wp-gpios = <&gpio1 13 GPIO_ACTIVE_HIGH>;
	/*
	 * Due to board issue, we can not use external regulator for card slot
	 * by default since the card power is shared with card detect pullup.
	 * Disabling the vmmc regulator will cause unexpected card detect
	 * interrupts.
	 * HW rework is needed to fix this isssue. Remove R695 first, then you
	 * can open below line to enable the using of external regulator.
	 * Then you will be able to power off the card during suspend. This is
	 * especially needed for a SD3.0 card re-enumeration working on UHS mode
	 * Note: reg_sd3_vmmc is also need to be enabled
	 */
	/* vmmc-supply = <&reg_sd3_vmmc>; */
	keep-power-in-suspend;
	enable-sdio-wakeup;
	status = "okay";
};

&weim {
	pinctrl-names = "default";
	pinctrl-0 = <&pinctrl_weim_nor &pinctrl_weim_cs0>;
	#address-cells = <2>;
	#size-cells = <1>;
	ranges = <0 0 0x08000000 0x08000000>;
	status = "disabled"; /* pin conflict with SPI NOR */

	nor@0,0 {
		compatible = "cfi-flash";
		reg = <0 0 0x02000000>;
		#address-cells = <1>;
		#size-cells = <1>;
		bank-width = <2>;
		fsl,weim-cs-timing = <0x00620081 0x00000001 0x1c022000
				0x0000c000 0x1404a38e 0x00000000>;
	};
};
